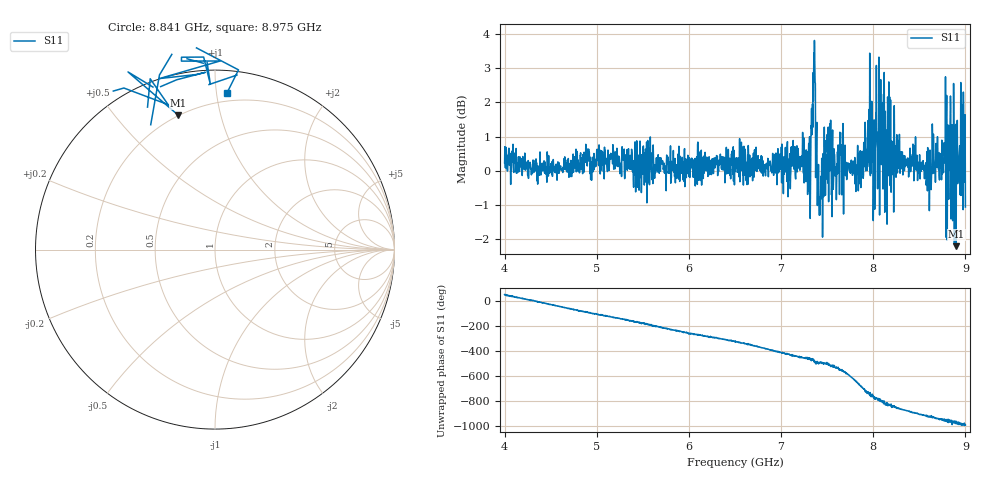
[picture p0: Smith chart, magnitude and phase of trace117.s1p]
! Created with skrf 1.8.0 (http://scikit-rf.org).
# Hz S RI R 50.0
!freq ReS11 ImS11
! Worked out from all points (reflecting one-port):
!   1601 points, 4 GHz to 9 GHz, reference 50 ohm
!   lowest |S11| = -2.2 dB at 8.9 GHz (marker M1), VSWR 7.91, Z = 9.92 + j37.2 ohm
!   phase of S11 starts at 54 deg and turns -1048 deg over the sweep
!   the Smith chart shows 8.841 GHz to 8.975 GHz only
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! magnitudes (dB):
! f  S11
! 4 GHz  0.2
! 4.625 GHz  0.0
! 5.25 GHz  -0.1
! 5.875 GHz  0.1
! 6.5 GHz  0.2
! 7.125 GHz  0.7
! 7.294 GHz  0.6
! 7.328 GHz  1.2
! 7.347 GHz  2.9
! 7.366 GHz  3.1
! 7.4 GHz  -0.2
! 7.416 GHz  -1.3
! 7.512 GHz  1.3
! 7.575 GHz  0.6
! 7.65 GHz  0.8
! 7.75 GHz  0.1
! 7.859 GHz  0.6
! 7.962 GHz  3.4
! 7.994 GHz  1.5
! 8.056 GHz  0.9
! 8.178 GHz  2.2
! 8.216 GHz  0.3
! 8.375 GHz  0.4
! 8.588 GHz  -0.6
! 8.834 GHz  1.4
! 8.9 GHz  -2.2
! 8.972 GHz  0.1
! 9 GHz  -1.1
